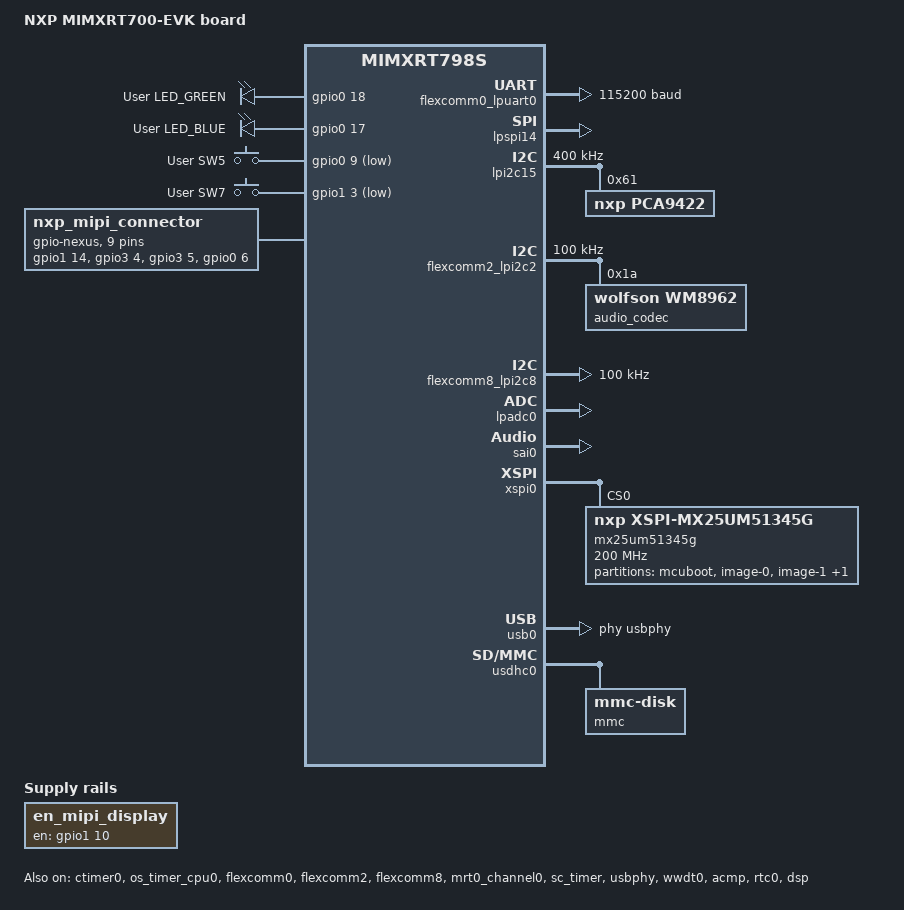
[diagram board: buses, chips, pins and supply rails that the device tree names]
/*
 * Copyright 2024-2025 NXP
 *
 * SPDX-License-Identifier: Apache-2.0
 */

/dts-v1/;

#include <nxp/nxp_rt7xx_cm33_cpu0.dtsi>
#include <zephyr/dt-bindings/i2c/i2c.h>
#include <zephyr/dt-bindings/input/input-event-codes.h>
#include "mimxrt700_evk-pinctrl.dtsi"

/ {
	model = "NXP MIMXRT700-EVK board";
	compatible = "nxp,mimxrt798s";

	aliases {
		led0 = &green_led;
		led1 = &blue_led;
		sw0 = &user_button_1;
		sw1 = &user_button_2;
		watchdog0 = &wwdt0;
		pwm-0 = &sc_timer;
		i2s-codec-tx = &sai0;
		i2s-tx = &sai0;
		sdhc0 = &usdhc0;
		rtc = &rtc0;
	};

	chosen {
		zephyr,flash-controller = &mx25um51345g;
		zephyr,flash = &mx25um51345g;
		zephyr,sram = &sram0;
		zephyr,console = &flexcomm0_lpuart0;
		zephyr,shell-uart = &flexcomm0_lpuart0;
		zephyr,display = &lcdif;
	};

	leds {
		compatible = "gpio-leds";

		green_led: led_0 {
			gpios = <&gpio0 18 GPIO_ACTIVE_HIGH>;
			label = "User LED_GREEN";
		};

		blue_led: led_1 {
			gpios = <&gpio0 17 GPIO_ACTIVE_HIGH>;
			label = "User LED_BLUE";
		};
	};

	gpio_keys {
		compatible = "gpio-keys";

		user_button_1: button_0 {
			label = "User SW5";
			gpios = <&gpio0 9 GPIO_ACTIVE_LOW>;
			zephyr,code = <INPUT_KEY_0>;
		};

		user_button_2: button_1 {
			label = "User SW7";
			gpios = <&gpio1 3 GPIO_ACTIVE_LOW>;
			zephyr,code = <INPUT_KEY_1>;
		};
	};

	/*
	 * This node describes the GPIO pins of the MIPI FPC interface,
	 * J50 on the EVK. This interface is standard to several
	 * NXP EVKs, and is used with several MIPI displays
	 * (available as zephyr shields)
	 */
	nxp_mipi_connector: mipi-connector {
		compatible = "gpio-nexus";
		#gpio-cells = <2>;
		gpio-map-mask = <0xffffffff 0xffffffc0>;
		gpio-map-pass-thru = <0 0x3f>;
		gpio-map = <0 0 &gpio1 14 0>,	/* Pin 1, LEDK */
			   <21 0 &gpio3 4 0>,	/* Pin 21, RESET */
			   <22 0 &gpio3 5 0>,	/* Pin 22, LPTE */
			   <26 0 &gpio0 6 0>,	/* Pin 26, CTP_I2C SDA */
			   <27 0 &gpio0 7 0>,	/* Pin 27, CTP_I2C SCL */
			   <28 0 &gpio3 8 0>,	/* Pin 28, CTP_RST */
			   <29 0 &gpio1 13 0>,	/* Pin 29, CTP_INT */
			   <32 0 &gpio1 10 0>,	/* Pin 32, PWR_EN */
			   <34 0 &gpio1 14 0>;	/* Pin 34, BL_PWM */
	};

	en_mipi_display: enable-mipi-display {
		compatible = "regulator-fixed";
		regulator-name = "en_mipi_display";
		enable-gpios = <&gpio1 10 GPIO_ACTIVE_HIGH>;
		regulator-boot-on;
	};
};

&ctimer0 {
	status = "okay";
};

&edma0 {
	status = "okay";
};

/*
 * RT700-EVK board cm33_cpu0 uses OS timer as the kernel timer
 * In case we need to switch to SYSTICK timer, then
 * replace &os_timer with &systick
 */
&os_timer_cpu0 {
	status = "okay";
	wakeup-source;
};

&flexcomm0 {
	status = "okay";
};

&flexcomm0_lpuart0 {
	status = "okay";
	current-speed = <115200>;
	pinctrl-0 = <&pinmux_flexcomm0_lpuart>;
	pinctrl-names = "default";
};

&lpspi14 {
	status = "okay";
	/* DMA channels 0 and 1, muxed to LPSPI14 RX and TX */
	dmas = <&edma0 0 73>, <&edma0 1 74>;
	dma-names = "rx", "tx";
	pinctrl-0 = <&pinmux_lpspi14>;
	pinctrl-names = "default";
};

&lpi2c15 {
	status = "okay";
	clock-frequency = <I2C_BITRATE_FAST>;
	#address-cells = <1>;
	#size-cells = <0>;
	pinctrl-0 = <&pinmux_lpi2c15>;
	pinctrl-names = "default";

	pca9422: pca9422@61 {
		compatible = "nxp,pca9422";
		reg = <0x61>;
		interrupts = <138 0>;

		charger: pca9422_charger {
			compatible = "nxp,pca9422-charger";
			constant-charge-current-max-microamp = <100000>;
			constant-charge-voltage-max-microvolt = <4200000>;
			precharge-current-percent = <16>;
			charge-termination-current-percent = <25>;
			re-charge-threshold-microvolt = <100000>;
			input-current-limit-microamp = <470000>;
			system-voltage-min-threshold-microvolt = <4550000>;
		};

		regulators: pca9422_regulators {
			compatible = "nxp,pca9422-regulator";
			nxp,vsys-uvlo-sel-millivolt = <2700>;

			pca9422_sw1: BUCK1 {
				regulator-boot-on;
				low-power-mode = "Normal";
				enable-mode = "All";
				nxp,active-microvolt = <1000000>;
				nxp,sleep-microvolt = <600000>;
				nxp,standby-microvolt = <1000000>;
			};

			pca9422_sw2: BUCK2 {
				regulator-boot-on;
				low-power-mode = "Normal";
				enable-mode = "All";
				nxp,active-microvolt = <1100000>;
				nxp,sleep-microvolt = <1100000>;
				nxp,standby-microvolt = <1100000>;
			};

			pca9422_sw3: BUCK3 {
				regulator-boot-on;
				low-power-mode = "Normal";
				enable-mode = "All";
				nxp,active-microvolt = <1800000>;
				nxp,sleep-microvolt = <1800000>;
				nxp,standby-microvolt = <1800000>;
			};

			pca9422_sw4: BUCKBOOST {
				regulator-boot-on;
				low-power-mode = "Normal";
				enable-mode = "All";
				nxp,active-microvolt = <1800000>;
				nxp,sleep-microvolt = <1800000>;
				nxp,standby-microvolt = <1800000>;
			};

			pca9422_ldo1: LDO1 {
				regulator-boot-on;
				enable-mode = "All";
				nxp,active-microvolt = <1800000>;
				nxp,sleep-microvolt = <1800000>;
				nxp,standby-microvolt = <1800000>;
			};

			pca9422_ldo2: LDO2 {
				regulator-boot-on;
				low-power-mode = "Normal";
				enable-mode = "All";
				nxp,active-microvolt = <1800000>;
				nxp,sleep-microvolt = <1800000>;
				nxp,standby-microvolt = <1800000>;
			};

			pca9422_ldo3: LDO3 {
				regulator-boot-on;
				low-power-mode = "Normal";
				enable-mode = "All";
				nxp,active-microvolt = <1200000>;
				nxp,sleep-microvolt = <1200000>;
				nxp,standby-microvolt = <1200000>;
			};

			pca9422_ldo4: LDO4 {
				regulator-boot-on;
				enable-mode = "All";
				nxp,active-microvolt = <3300000>;
				nxp,sleep-microvolt = <3300000>;
				nxp,standby-microvolt = <3300000>;
			};
		};
	};
};

&flexcomm2 {
	status = "okay";
};

&flexcomm2_lpi2c2 {
	status = "okay";
	pinctrl-0 = <&pinmux_flexcomm2_i2c>;
	pinctrl-names = "default";
	clock-frequency = <I2C_BITRATE_STANDARD>;
	#address-cells = <1>;
	#size-cells = <0>;

	audio_codec: wm8962@1a {
		compatible = "wolfson,wm8962";
		reg = <0x1a>;
		clock-source = "MCLK";
		clocks = <&clkctl0 MCUX_SAI0_CLK>;
		clock-names = "mclk";
	};
};

&flexcomm8 {
	status = "okay";
};

&flexcomm8_lpi2c8 {
	pinctrl-0 = <&pinmux_flexcomm8_i2c>;
	pinctrl-names = "default";
	clock-frequency = <I2C_BITRATE_STANDARD>;
};

nxp_mipi_i2c: &flexcomm8_lpi2c8 {};

zephyr_mipi_dsi: &mipi_dsi {};

zephyr_lcdif: &lcdif {};

&gpio0 {
	status = "okay";
};

&gpio1 {
	status = "okay";
};

&gpio2 {
	status = "okay";
};

&gpio3 {
	status = "okay";
};

&gpio7 {
	status = "okay";
};

&green_led {
	status = "okay";
};

&lpadc0 {
	status = "okay";
	pinctrl-0 = <&pinmux_lpadc0>;
	pinctrl-names = "default";
};

&blue_led {
	status = "okay";
};

&mrt0_channel0 {
	status = "okay";
};

&sai0 {
	status = "okay";
	pinctrl-0 = <&pinmux_sai0>;
	pinctrl-names = "default";
};

&sc_timer {
	status = "okay";
	pinctrl-0 = <&pinmux_sctimer>;
	pinctrl-names = "default";
};

&xspi0 {
	status = "okay";

	mx25um51345g: mx25um51345g@0 {
		compatible = "nxp,xspi-mx25um51345g";
		/* MX25UM51245G is 64MB, 512MBit flash part */
		size = <DT_SIZE_M(64 * 8)>;
		reg = <0>;
		spi-max-frequency = <DT_FREQ_M(200)>;
		status = "okay";
		jedec-id = [c2 81 3a];
		erase-block-size = <DT_SIZE_K(4)>;
		write-block-size = <2>;

		partitions {
			compatible = "fixed-partitions";
			#address-cells = <1>;
			#size-cells = <1>;

			/*
			 * Partition sizes must be aligned
			 * to the flash memory sector size of 4KB.
			 */
			boot_partition: partition@0 {
				label = "mcuboot";
				reg = <0x00000000 DT_SIZE_K(128)>;
			};
			slot0_partition: partition@20000 {
				label = "image-0";
				reg = <0x00020000 DT_SIZE_M(7)>;
			};
			slot1_partition: partition@720000 {
				label = "image-1";
				reg = <0x00720000 DT_SIZE_M(7)>;
			};
			storage_partition: partition@E20000 {
				label = "storage";
				reg = <0x00E20000 (DT_SIZE_M(2) - DT_SIZE_K(128))>;
			};
		};
	};
};

zephyr_udc0: &usb0 {
	status = "okay";
	phy-handle = <&usbphy>;
};

&usbphy {
	status = "okay";
	tx-d-cal = <7>;
	tx-cal-45-dp-ohms = <6>;
	tx-cal-45-dm-ohms = <6>;
};

&usdhc0 {
	status = "okay";
	pwr-gpios = <&gpio7 12 GPIO_ACTIVE_HIGH>;

	mmc {
		compatible = "zephyr,mmc-disk";
		disk-name = "SD2";
		status = "okay";
	};
	pinctrl-0 = <&pinmux_usdhc>;
	pinctrl-names = "default";
	mmc-hs200-1_8v;
	mmc-hs400-1_8v;
};

&wwdt0 {
	status = "okay";
};

&acmp {
	status = "okay";
	pinctrl-0 = <&pinmux_acmp>;
	pinctrl-names = "default";
};

p3t1755dp_ard_i2c_interface: &flexcomm8_lpi2c8 {};

&rtc0 {
	status = "okay";
};

&dsp {
	status = "okay";
};

&mbox1_a {
	status = "okay";
};

&mbox4_a {
	status = "okay";
};

&pca9422 {
	status = "okay";
};
